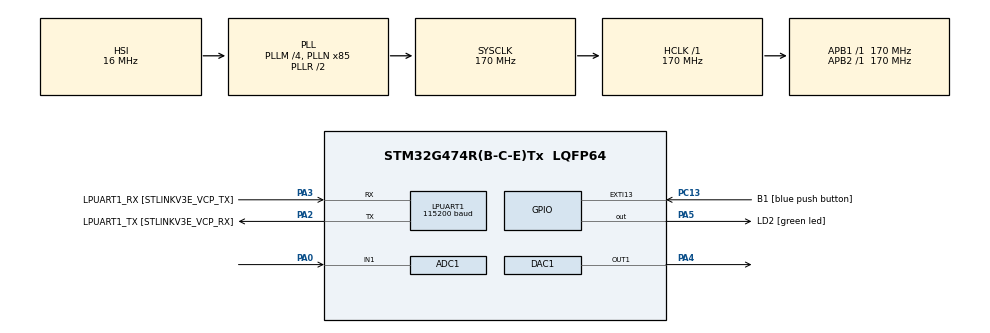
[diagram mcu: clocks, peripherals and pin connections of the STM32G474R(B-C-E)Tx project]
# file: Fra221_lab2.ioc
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ADC1.Channel-0\#ChannelRegularConversion=ADC_CHANNEL_1
ADC1.NbrOfConversionFlag=1
ADC1.OffsetNumber-0\#ChannelRegularConversion=ADC_OFFSET_NONE
ADC1.Rank-0\#ChannelRegularConversion=1
ADC1.Resolution=ADC_RESOLUTION_10B
ADC1.SamplingTime-0\#ChannelRegularConversion=ADC_SAMPLETIME_2CYCLES_5
ADC1.master=1
LPUART1.BaudRate=115200
LPUART1.WordLength=UART_WORDLENGTH_8B
Mcu.Family=STM32G4
Mcu.Name=STM32G474R(B-C-E)Tx
Mcu.Package=LQFP64
NVIC.EXTI15_10_IRQn=true\:0\:0\:false\:false\:true\:true\:true\:true
NVIC.PriorityGroup=NVIC_PRIORITYGROUP_4
PA0.Mode=IN1-Single-Ended
PA0.Signal=ADC1_IN1
PA13.GPIO_Label=T_SWDIO
PA13.Mode=Serial_Wire
PA13.Signal=SYS_JTMS-SWDIO
PA14.GPIO_Label=T_SWCLK
PA14.Mode=Serial_Wire
PA14.Signal=SYS_JTCK-SWCLK
PA2.GPIO_Label=LPUART1_TX [STLINKV3E_VCP_RX]
PA2.Mode=Asynchronous
PA2.Signal=LPUART1_TX
PA3.GPIO_Label=LPUART1_RX [STLINKV3E_VCP_TX]
PA3.Mode=Asynchronous
PA3.Signal=LPUART1_RX
PA4.Signal=COMP_DAC11_group
PA5.GPIO_Label=LD2 [green led]
PA5.Signal=GPIO_Output
PB3.GPIO_Label=T_SWO
PB3.Signal=SYS_JTDO-SWO
PC13.GPIO_Label=B1 [blue push button]
PC13.Signal=GPXTI13
PC14-OSC32_IN.Mode=LSE-External-Oscillator
PC14-OSC32_IN.Signal=RCC_OSC32_IN
PC15-OSC32_OUT.Mode=LSE-External-Oscillator
PC15-OSC32_OUT.Signal=RCC_OSC32_OUT
PF0-OSC_IN.Mode=HSE-External-Oscillator
PF0-OSC_IN.Signal=RCC_OSC_IN
PF1-OSC_OUT.Mode=HSE-External-Oscillator
PF1-OSC_OUT.Signal=RCC_OSC_OUT
ProjectManager.HeapSize=0x200
ProjectManager.StackSize=0x400
ProjectManager.TargetToolchain=STM32CubeIDE
RCC.ADC12Freq_Value=170000000
RCC.ADC345Freq_Value=170000000
RCC.AHBFreq_Value=170000000
RCC.APB1Freq_Value=170000000
RCC.APB1TimFreq_Value=170000000
RCC.APB2Freq_Value=170000000
RCC.APB2TimFreq_Value=170000000
RCC.CortexFreq_Value=170000000
RCC.EXTERNAL_CLOCK_VALUE=12288000
RCC.HCLKFreq_Value=170000000
RCC.HSE_VALUE=24000000
RCC.HSI48_VALUE=48000000
RCC.HSI_VALUE=16000000
RCC.PLLM=RCC_PLLM_DIV4
RCC.PLLN=85
RCC.RTCClockSelection=RCC_RTCCLKSOURCE_LSE
RCC.SYSCLKFreq_VALUE=170000000
RCC.SYSCLKSource=RCC_SYSCLKSOURCE_PLLCLK
RCC.USBFreq_Value=170000000
RCC.VCOOutputFreq_Value=340000000
SH.COMP_DAC11_group.0=DAC1_OUT1,DAC_OUT1
VP_SYS_VS_DBSignals.Mode=DisableDeadBatterySignals
board=NUCLEO-G474RE

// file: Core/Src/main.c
/* USER CODE BEGIN Header */
/**
  ******************************************************************************
  * @file           : main.c
  * @brief          : Main program body
  ******************************************************************************
  * @attention
  *
  * Copyright (c) 2023 STMicroelectronics.
  * All rights reserved.
  *
  * This software is licensed under terms that can be found in the LICENSE file
  * in the root directory of this software component.
  * If no LICENSE file comes with this software, it is provided AS-IS.
  *
  ******************************************************************************
  */
/* USER CODE END Header */
#include "main.h"

ADC_HandleTypeDef hadc1;

DAC_HandleTypeDef hdac1;

UART_HandleTypeDef hlpuart1;

/* USER CODE BEGIN PV */
struct _ADC_tag
{
	ADC_ChannelConfTypeDef Config;
	uint16_t data;
};

struct _ADC_tag ADC1_Channel =
{
	.Config.Channel = ADC_CHANNEL_1,
	.Config.Rank = ADC_REGULAR_RANK_1,
	.Config.SamplingTime = ADC_SAMPLETIME_640CYCLES_5,
	.Config.SingleDiff = ADC_SINGLE_ENDED,
	.Config.OffsetNumber = ADC_OFFSET_NONE,
	.Config.Offset = 0,
	.data = 0
};

uint16_t rawTenBit = 0;
float mVUnit = 0;

uint16_t DAC_Raw=0;
float DAC_mV=0;

float buffer_Raw = 0;
uint16_t isPressed = 0;

/* USER CODE END PV */

void SystemClock_Config(void);
static void MX_GPIO_Init(void);
static void MX_LPUART1_UART_Init(void);
static void MX_ADC1_Init(void);
static void MX_DAC1_Init(void);
/* USER CODE BEGIN PFP */
void ADC_Read_blocking();
void DAC_Update();
/* USER CODE END PFP */

int main(void)
{

  /* MCU Configuration--------------------------------------------------------*/

  /* Reset of all peripherals, Initializes the Flash interface and the Systick. */
   HAL_Init();

  /* Configure the system clock */
  SystemClock_Config();

  /* Initialize all configured peripherals */
  MX_GPIO_Init();
  MX_LPUART1_UART_Init();
  MX_ADC1_Init();
  MX_DAC1_Init();
  /* USER CODE BEGIN 2 */
  HAL_DAC_SetValue(&hdac1, DAC_CHANNEL_1, DAC_ALIGN_12B_R, 2048);
  HAL_DAC_Start(&hdac1, DAC_CHANNEL_1);
  /* USER CODE END 2 */

  /* Infinite loop */
  while (1)
  {
	  ADC_Read_blocking();
	  isPressed = HAL_GPIO_ReadPin(GPIOC, GPIO_PIN_13);
	  if (isPressed == 1) {
		  buffer_Raw = rawTenBit * 4;
		  DAC_Raw = 100;
		  DAC_Update();
	  }
//	  DAC_Update();
//	  ADC_Read_blocking();

  }
}

void SystemClock_Config(void)
{
  RCC_OscInitTypeDef RCC_OscInitStruct = {0};
  RCC_ClkInitTypeDef RCC_ClkInitStruct = {0};

  /** Configure the main internal regulator output voltage
  */
  HAL_PWREx_ControlVoltageScaling(PWR_REGULATOR_VOLTAGE_SCALE1_BOOST);

  /** Initializes the RCC Oscillators according to the specified parameters
  * in the RCC_OscInitTypeDef structure.
  */
  RCC_OscInitStruct.OscillatorType = RCC_OSCILLATORTYPE_HSI;
  RCC_OscInitStruct.HSIState = RCC_HSI_ON;
  RCC_OscInitStruct.HSICalibrationValue = RCC_HSICALIBRATION_DEFAULT;
  RCC_OscInitStruct.PLL.PLLState = RCC_PLL_ON;
  RCC_OscInitStruct.PLL.PLLSource = RCC_PLLSOURCE_HSI;
  RCC_OscInitStruct.PLL.PLLM = RCC_PLLM_DIV4;
  RCC_OscInitStruct.PLL.PLLN = 85;
  RCC_OscInitStruct.PLL.PLLP = RCC_PLLP_DIV2;
  RCC_OscInitStruct.PLL.PLLQ = RCC_PLLQ_DIV2;
  RCC_OscInitStruct.PLL.PLLR = RCC_PLLR_DIV2;
  if (HAL_RCC_OscConfig(&RCC_OscInitStruct) != HAL_OK)
  {
    Error_Handler();
  }

  /** Initializes the CPU, AHB and APB buses clocks
  */
  RCC_ClkInitStruct.ClockType = RCC_CLOCKTYPE_HCLK|RCC_CLOCKTYPE_SYSCLK
                              |RCC_CLOCKTYPE_PCLK1|RCC_CLOCKTYPE_PCLK2;
  RCC_ClkInitStruct.SYSCLKSource = RCC_SYSCLKSOURCE_PLLCLK;
  RCC_ClkInitStruct.AHBCLKDivider = RCC_SYSCLK_DIV1;
  RCC_ClkInitStruct.APB1CLKDivider = RCC_HCLK_DIV1;
  RCC_ClkInitStruct.APB2CLKDivider = RCC_HCLK_DIV1;

  if (HAL_RCC_ClockConfig(&RCC_ClkInitStruct, FLASH_LATENCY_4) != HAL_OK)
  {
    Error_Handler();
  }
}

static void MX_ADC1_Init(void)
{

  ADC_MultiModeTypeDef multimode = {0};
  ADC_ChannelConfTypeDef sConfig = {0};

  /** Common config
  */
  hadc1.Instance = ADC1;
  hadc1.Init.ClockPrescaler = ADC_CLOCK_SYNC_PCLK_DIV4;
  hadc1.Init.Resolution = ADC_RESOLUTION_10B;
  hadc1.Init.DataAlign = ADC_DATAALIGN_RIGHT;
  hadc1.Init.GainCompensation = 0;
  hadc1.Init.ScanConvMode = ADC_SCAN_DISABLE;
  hadc1.Init.EOCSelection = ADC_EOC_SINGLE_CONV;
  hadc1.Init.LowPowerAutoWait = DISABLE;
  hadc1.Init.ContinuousConvMode = DISABLE;
  hadc1.Init.NbrOfConversion = 1;
  hadc1.Init.DiscontinuousConvMode = DISABLE;
  hadc1.Init.ExternalTrigConv = ADC_SOFTWARE_START;
  hadc1.Init.ExternalTrigConvEdge = ADC_EXTERNALTRIGCONVEDGE_NONE;
  hadc1.Init.DMAContinuousRequests = DISABLE;
  hadc1.Init.Overrun = ADC_OVR_DATA_PRESERVED;
  hadc1.Init.OversamplingMode = DISABLE;
  if (HAL_ADC_Init(&hadc1) != HAL_OK)
  {
    Error_Handler();
  }

  /** Configure the ADC multi-mode
  */
  multimode.Mode = ADC_MODE_INDEPENDENT;
  if (HAL_ADCEx_MultiModeConfigChannel(&hadc1, &multimode) != HAL_OK)
  {
    Error_Handler();
  }

  /** Configure Regular Channel
  */
  sConfig.Channel = ADC_CHANNEL_1;
  sConfig.Rank = ADC_REGULAR_RANK_1;
  sConfig.SamplingTime = ADC_SAMPLETIME_2CYCLES_5;
  sConfig.SingleDiff = ADC_SINGLE_ENDED;
  sConfig.OffsetNumber = ADC_OFFSET_NONE;
  sConfig.Offset = 0;
  if (HAL_ADC_ConfigChannel(&hadc1, &sConfig) != HAL_OK)
  {
    Error_Handler();
  }

}

static void MX_DAC1_Init(void)
{

  DAC_ChannelConfTypeDef sConfig = {0};

  /** DAC Initialization
  */
  hdac1.Instance = DAC1;
  if (HAL_DAC_Init(&hdac1) != HAL_OK)
  {
    Error_Handler();
  }

  /** DAC channel OUT1 config
  */
  sConfig.DAC_HighFrequency = DAC_HIGH_FREQUENCY_INTERFACE_MODE_AUTOMATIC;
  sConfig.DAC_DMADoubleDataMode = DISABLE;
  sConfig.DAC_SignedFormat = DISABLE;
  sConfig.DAC_SampleAndHold = DAC_SAMPLEANDHOLD_DISABLE;
  sConfig.DAC_Trigger = DAC_TRIGGER_NONE;
  sConfig.DAC_Trigger2 = DAC_TRIGGER_NONE;
  sConfig.DAC_OutputBuffer = DAC_OUTPUTBUFFER_ENABLE;
  sConfig.DAC_ConnectOnChipPeripheral = DAC_CHIPCONNECT_EXTERNAL;
  sConfig.DAC_UserTrimming = DAC_TRIMMING_FACTORY;
  if (HAL_DAC_ConfigChannel(&hdac1, &sConfig, DAC_CHANNEL_1) != HAL_OK)
  {
    Error_Handler();
  }

}

static void MX_LPUART1_UART_Init(void)
{

  hlpuart1.Instance = LPUART1;
  hlpuart1.Init.BaudRate = 115200;
  hlpuart1.Init.WordLength = UART_WORDLENGTH_8B;
  hlpuart1.Init.StopBits = UART_STOPBITS_1;
  hlpuart1.Init.Parity = UART_PARITY_NONE;
  hlpuart1.Init.Mode = UART_MODE_TX_RX;
  hlpuart1.Init.HwFlowCtl = UART_HWCONTROL_NONE;
  hlpuart1.Init.OneBitSampling = UART_ONE_BIT_SAMPLE_DISABLE;
  hlpuart1.Init.ClockPrescaler = UART_PRESCALER_DIV1;
  hlpuart1.AdvancedInit.AdvFeatureInit = UART_ADVFEATURE_NO_INIT;
  if (HAL_UART_Init(&hlpuart1) != HAL_OK)
  {
    Error_Handler();
  }
  if (HAL_UARTEx_SetTxFifoThreshold(&hlpuart1, UART_TXFIFO_THRESHOLD_1_8) != HAL_OK)
  {
    Error_Handler();
  }
  if (HAL_UARTEx_SetRxFifoThreshold(&hlpuart1, UART_RXFIFO_THRESHOLD_1_8) != HAL_OK)
  {
    Error_Handler();
  }
  if (HAL_UARTEx_DisableFifoMode(&hlpuart1) != HAL_OK)
  {
    Error_Handler();
  }

}

static void MX_GPIO_Init(void)
{
  GPIO_InitTypeDef GPIO_InitStruct = {0};

  /* GPIO Ports Clock Enable */
  __HAL_RCC_GPIOC_CLK_ENABLE();
  __HAL_RCC_GPIOF_CLK_ENABLE();
  __HAL_RCC_GPIOA_CLK_ENABLE();
  __HAL_RCC_GPIOB_CLK_ENABLE();

  /*Configure GPIO pin Output Level */
  HAL_GPIO_WritePin(LD2_GPIO_Port, LD2_Pin, GPIO_PIN_RESET);

  /*Configure GPIO pin : B1_Pin */
  GPIO_InitStruct.Pin = B1_Pin;
  GPIO_InitStruct.Mode = GPIO_MODE_IT_RISING;
  GPIO_InitStruct.Pull = GPIO_NOPULL;
  HAL_GPIO_Init(B1_GPIO_Port, &GPIO_InitStruct);

  /*Configure GPIO pin : LD2_Pin */
  GPIO_InitStruct.Pin = LD2_Pin;
  GPIO_InitStruct.Mode = GPIO_MODE_OUTPUT_PP;
  GPIO_InitStruct.Pull = GPIO_NOPULL;
  GPIO_InitStruct.Speed = GPIO_SPEED_FREQ_LOW;
  HAL_GPIO_Init(LD2_GPIO_Port, &GPIO_InitStruct);

  /* EXTI interrupt init*/
  HAL_NVIC_SetPriority(EXTI15_10_IRQn, 0, 0);
  HAL_NVIC_EnableIRQ(EXTI15_10_IRQn);

}

/* USER CODE BEGIN 4 */
void ADC_Read_blocking()
{
	static uint32_t TimeStamp = 0;
	if( HAL_GetTick()<TimeStamp) return;

	TimeStamp = HAL_GetTick()+500;
	HAL_ADC_ConfigChannel(&hadc1, &ADC1_Channel.Config);
	HAL_ADC_Start(&hadc1);
	HAL_ADC_PollForConversion(&hadc1, 100);
	ADC1_Channel.data = HAL_ADC_GetValue(&hadc1);
	rawTenBit = (ADC1_Channel.data);
	mVUnit = (ADC1_Channel.data)*3300/1024;

	HAL_ADC_Stop(&hadc1);
}

void DAC_Update()
{
	static uint32_t timeStamp = 0;
	if(HAL_GetTick()>timeStamp)
	{
		timeStamp = HAL_GetTick()+750;
		HAL_DAC_SetValue(&hdac1, DAC_CHANNEL_1, DAC_ALIGN_12B_R, buffer_Raw);
	}
}

/* USER CODE END 4 */

void Error_Handler(void)
{
  __disable_irq();
  while (1)
  {
  }
}
